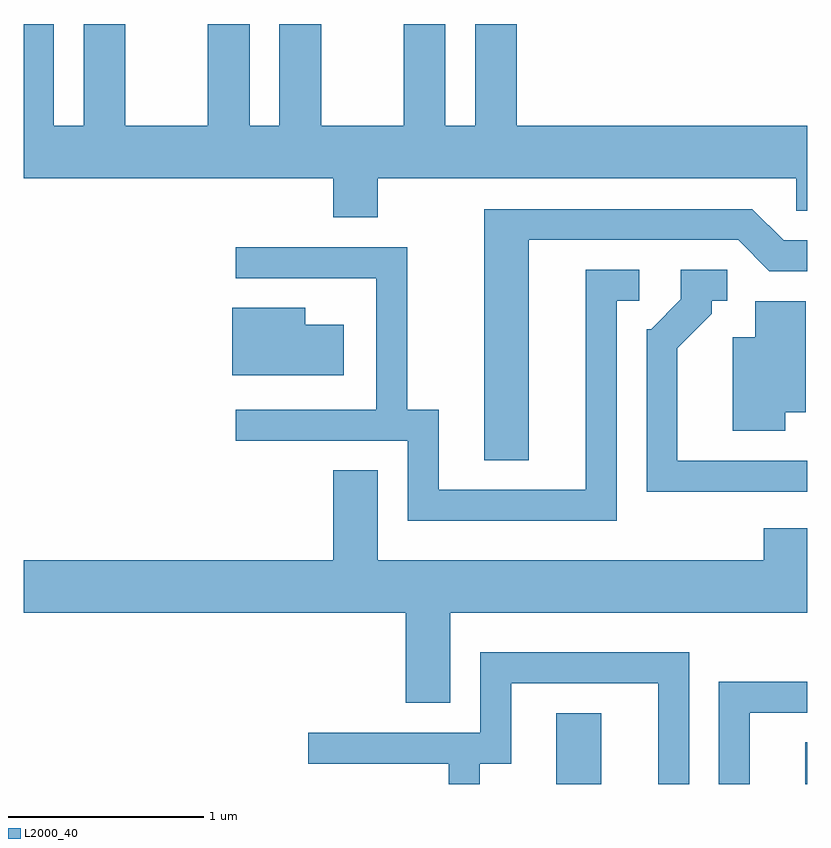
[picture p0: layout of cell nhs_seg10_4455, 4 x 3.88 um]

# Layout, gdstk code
import gdstk
lib = gdstk.Library(unit=1e-6, precision=1e-09)
def R(c, l, rs):  # rectangles x0, y0, x1, y1
    for r in rs: c.add(gdstk.rectangle(r[:2], r[2:], *l))
def P(c, l, *ps):  # polygons
    for p in ps: c.add(gdstk.Polygon(p, *l))
L2000_40 = (2000, 40)

nhs_seg10_4455 = lib.new_cell('nhs_seg10_4455')
R(nhs_seg10_4455, L2000_40, [(318.331,2188.522,318.559,2188.884), (319.601,2188.522,319.611,2188.734)])
P(nhs_seg10_4455, L2000_40, [(317.419,2191.616),(319.556,2191.616),(319.556,2191.451),(319.611,2191.451),(319.611,2191.884),(318.129,2191.884),(318.129,2192.404),(317.916,2192.404),(317.916,2191.884),(317.764,2191.884),(317.764,2192.404),(317.551,2192.404),(317.551,2191.884),(317.129,2191.884),(317.129,2192.404),(316.916,2192.404),(316.916,2191.884),(316.764,2191.884),(316.764,2192.404),(316.551,2192.404),(316.551,2191.884),(316.129,2191.884),(316.129,2192.404),(315.916,2192.404),(315.916,2191.884),(315.764,2191.884),(315.764,2192.404),(315.611,2192.404),(315.611,2191.616),(317.191,2191.616),(317.191,2191.416),(317.419,2191.416)],
  [(318.189,2191.301),(319.259,2191.301),(319.419,2191.141),(319.611,2191.141),(319.611,2191.299),(319.492,2191.299),(319.332,2191.459),(317.961,2191.459),(317.961,2190.176),(318.189,2190.176)],
  [(318.639,2190.991),(318.753,2190.991),(318.753,2191.149),(318.481,2191.149),(318.481,2190.024),(317.729,2190.024),(317.729,2190.434),(317.569,2190.434),(317.569,2191.264),(316.693,2191.264),(316.693,2191.106),(317.411,2191.106),(317.411,2190.434),(316.693,2190.434),(316.693,2190.276),(317.571,2190.276),(317.571,2189.866),(318.639,2189.866)],
  [(319.611,2190.174),(318.949,2190.174),(318.949,2190.749),(319.124,2190.924),(319.124,2190.991),(319.203,2190.991),(319.203,2191.149),(318.966,2191.149),(318.966,2190.997),(318.814,2190.844),(318.791,2190.844),(318.791,2190.016),(319.611,2190.016)],
  [(319.499,2190.421),(319.604,2190.421),(319.604,2190.989),(319.346,2190.989),(319.346,2190.804),(319.231,2190.804),(319.231,2190.326),(319.499,2190.326)],
  [(317.244,2190.869),(317.049,2190.869),(317.049,2190.954),(316.676,2190.954),(316.676,2190.611),(317.244,2190.611)],
  [(317.789,2189.396),(319.611,2189.396),(319.611,2189.829),(319.391,2189.829),(319.391,2189.664),(317.419,2189.664),(317.419,2190.124),(317.191,2190.124),(317.191,2189.664),(315.611,2189.664),(315.611,2189.396),(317.561,2189.396),(317.561,2188.936),(317.789,2188.936)],
  [(317.939,2188.626),(318.099,2188.626),(318.099,2189.036),(318.851,2189.036),(318.851,2188.522),(319.009,2188.522),(319.009,2189.194),(317.941,2189.194),(317.941,2188.784),(317.063,2188.784),(317.063,2188.626),(317.781,2188.626),(317.781,2188.522),(317.939,2188.522)],
  [(319.319,2188.886),(319.611,2188.886),(319.611,2189.044),(319.161,2189.044),(319.161,2188.522),(319.319,2188.522)])

lib.write_gds('nhs_seg10_4455.gds')
